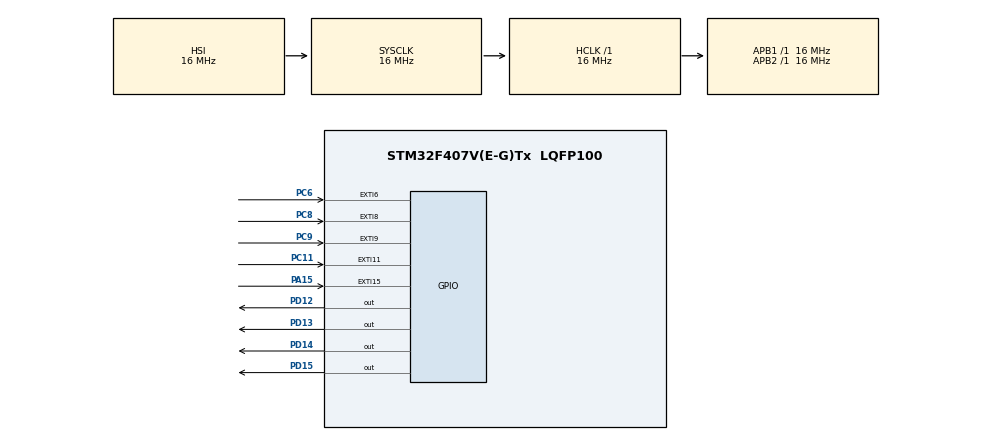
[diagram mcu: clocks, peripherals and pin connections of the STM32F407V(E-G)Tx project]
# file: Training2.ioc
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Mcu.Family=STM32F4
Mcu.Name=STM32F407V(E-G)Tx
Mcu.Package=LQFP100
NVIC.EXTI15_10_IRQn=true\:0\:0\:false\:false\:true\:true\:true\:true
NVIC.EXTI9_5_IRQn=true\:0\:0\:false\:false\:true\:true\:true\:true
NVIC.PriorityGroup=NVIC_PRIORITYGROUP_4
PA15.GPIO_ModeDefaultEXTI=GPIO_MODE_IT_RISING_FALLING
PA15.Signal=GPXTI15
PC11.GPIO_ModeDefaultEXTI=GPIO_MODE_IT_RISING_FALLING
PC11.Signal=GPXTI11
PC6.GPIO_ModeDefaultEXTI=GPIO_MODE_IT_RISING_FALLING
PC6.Signal=GPXTI6
PC8.GPIO_ModeDefaultEXTI=GPIO_MODE_IT_RISING_FALLING
PC8.Signal=GPXTI8
PC9.GPIO_ModeDefaultEXTI=GPIO_MODE_IT_RISING_FALLING
PC9.Signal=GPXTI9
PD12.Signal=GPIO_Output
PD13.Signal=GPIO_Output
PD14.Signal=GPIO_Output
PD15.Signal=GPIO_Output
ProjectManager.HeapSize=0x200
ProjectManager.StackSize=0x400
ProjectManager.TargetToolchain=STM32CubeIDE
RCC.AHBFreq_Value=16000000
RCC.APB1Freq_Value=16000000
RCC.APB2Freq_Value=16000000
RCC.CortexFreq_Value=16000000
RCC.HSE_VALUE=25000000
RCC.HSI_VALUE=16000000
RCC.LSE_VALUE=32768
RCC.SYSCLKFreq_VALUE=16000000
RCC.VCOOutputFreq_Value=192000000
board=custom

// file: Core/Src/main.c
/* USER CODE BEGIN Header */
/**
  ******************************************************************************
  * @file           : main.c
  * @brief          : Main program body
  ******************************************************************************
  * @attention
  *
  * Copyright (c) 2023 STMicroelectronics.
  * All rights reserved.
  *
  * This software is licensed under terms that can be found in the LICENSE file
  * in the root directory of this software component.
  * If no LICENSE file comes with this software, it is provided AS-IS.
  *
  ******************************************************************************
  */
/* USER CODE END Header */
#include "main.h"

/* USER CODE BEGIN PD */
#define NUM_OF_LEDS 4
#define NUM_OF_MODES 3
#define BLINK_DELAY_STEP 50
#define MAX_DELAY 2000
/* USER CODE END PD */

/* USER CODE BEGIN PV */
uint8_t isBlinking = 1;
uint8_t blinkMode = 0;
uint32_t delay = 250;
/* USER CODE END PV */

void SystemClock_Config(void);
static void MX_GPIO_Init(void);

int main(void)
{

  /* MCU Configuration--------------------------------------------------------*/

  /* Reset of all peripherals, Initializes the Flash interface and the Systick. */
  HAL_Init();

  /* Configure the system clock */
  SystemClock_Config();

  /* Initialize all configured peripherals */
  MX_GPIO_Init();
  /* USER CODE BEGIN 2 */
  uint16_t LEDs[] = {GPIO_PIN_12, GPIO_PIN_13, GPIO_PIN_14, GPIO_PIN_15};
  /* USER CODE END 2 */

  /* Infinite loop */
  /* USER CODE BEGIN WHILE */
  while (1)
  {
	  LEDsReset(LEDs);
	  if(isBlinking){
		  switch(blinkMode){
		  case 0:
			  BlinkingScheme1(LEDs, delay);
			  break;
		  case 1:
			  BlinkingScheme2(LEDs, delay);
			  break;
		  case 2:
			  BlinkingScheme3(LEDs, delay);
			  break;
		  default:
			  break;
		  }
	  }
	  else {
		  // HAL_GPIO_WritePin(GPIOD, GPIO_PIN_12|GPIO_PIN_13|GPIO_PIN_14|GPIO_PIN_15, GPIO_PIN_RESET);
	  }
    /* USER CODE END WHILE */

  }
}

void SystemClock_Config(void)
{
  RCC_OscInitTypeDef RCC_OscInitStruct = {0};
  RCC_ClkInitTypeDef RCC_ClkInitStruct = {0};

  /** Configure the main internal regulator output voltage
  */
  __HAL_RCC_PWR_CLK_ENABLE();
  __HAL_PWR_VOLTAGESCALING_CONFIG(PWR_REGULATOR_VOLTAGE_SCALE1);

  /** Initializes the RCC Oscillators according to the specified parameters
  * in the RCC_OscInitTypeDef structure.
  */
  RCC_OscInitStruct.OscillatorType = RCC_OSCILLATORTYPE_HSI;
  RCC_OscInitStruct.HSIState = RCC_HSI_ON;
  RCC_OscInitStruct.HSICalibrationValue = RCC_HSICALIBRATION_DEFAULT;
  RCC_OscInitStruct.PLL.PLLState = RCC_PLL_NONE;
  if (HAL_RCC_OscConfig(&RCC_OscInitStruct) != HAL_OK)
  {
    Error_Handler();
  }

  /** Initializes the CPU, AHB and APB buses clocks
  */
  RCC_ClkInitStruct.ClockType = RCC_CLOCKTYPE_HCLK|RCC_CLOCKTYPE_SYSCLK
                              |RCC_CLOCKTYPE_PCLK1|RCC_CLOCKTYPE_PCLK2;
  RCC_ClkInitStruct.SYSCLKSource = RCC_SYSCLKSOURCE_HSI;
  RCC_ClkInitStruct.AHBCLKDivider = RCC_SYSCLK_DIV1;
  RCC_ClkInitStruct.APB1CLKDivider = RCC_HCLK_DIV1;
  RCC_ClkInitStruct.APB2CLKDivider = RCC_HCLK_DIV1;

  if (HAL_RCC_ClockConfig(&RCC_ClkInitStruct, FLASH_LATENCY_0) != HAL_OK)
  {
    Error_Handler();
  }
}

static void MX_GPIO_Init(void)
{
  GPIO_InitTypeDef GPIO_InitStruct = {0};

  /* GPIO Ports Clock Enable */
  __HAL_RCC_GPIOD_CLK_ENABLE();
  __HAL_RCC_GPIOC_CLK_ENABLE();
  __HAL_RCC_GPIOA_CLK_ENABLE();

  /*Configure GPIO pin Output Level */
  HAL_GPIO_WritePin(GPIOD, GPIO_PIN_12|GPIO_PIN_13|GPIO_PIN_14|GPIO_PIN_15, GPIO_PIN_RESET);

  /*Configure GPIO pins : PD12 PD13 PD14 PD15 */
  GPIO_InitStruct.Pin = GPIO_PIN_12|GPIO_PIN_13|GPIO_PIN_14|GPIO_PIN_15;
  GPIO_InitStruct.Mode = GPIO_MODE_OUTPUT_PP;
  GPIO_InitStruct.Pull = GPIO_NOPULL;
  GPIO_InitStruct.Speed = GPIO_SPEED_FREQ_LOW;
  HAL_GPIO_Init(GPIOD, &GPIO_InitStruct);

  /*Configure GPIO pins : PC6 PC8 PC9 PC11 */
  GPIO_InitStruct.Pin = GPIO_PIN_6|GPIO_PIN_8|GPIO_PIN_9|GPIO_PIN_11;
  GPIO_InitStruct.Mode = GPIO_MODE_IT_RISING_FALLING;
  GPIO_InitStruct.Pull = GPIO_NOPULL;
  HAL_GPIO_Init(GPIOC, &GPIO_InitStruct);

  /*Configure GPIO pin : PA15 */
  GPIO_InitStruct.Pin = GPIO_PIN_15;
  GPIO_InitStruct.Mode = GPIO_MODE_IT_RISING_FALLING;
  GPIO_InitStruct.Pull = GPIO_NOPULL;
  HAL_GPIO_Init(GPIOA, &GPIO_InitStruct);

  /* EXTI interrupt init*/
  HAL_NVIC_SetPriority(EXTI9_5_IRQn, 0, 0);
  HAL_NVIC_EnableIRQ(EXTI9_5_IRQn);

  HAL_NVIC_SetPriority(EXTI15_10_IRQn, 0, 0);
  HAL_NVIC_EnableIRQ(EXTI15_10_IRQn);

}

/* USER CODE BEGIN 4 */
void BlinkingScheme1(uint16_t* LEDs, uint32_t delay){
	//HAL_GPIO_WritePin(GPIOD, GPIO_PIN_12|GPIO_PIN_13|GPIO_PIN_14|GPIO_PIN_15, GPIO_PIN_RESET);

	for (uint8_t i = 0; i < NUM_OF_LEDS; i++){
		HAL_GPIO_TogglePin(GPIOD, LEDs[i]);
		HAL_Delay(delay);
		HAL_GPIO_TogglePin(GPIOD, LEDs[i]);
	}
}

void BlinkingScheme2(uint16_t* LEDs, uint32_t delay){
	//HAL_GPIO_WritePin(GPIOD, GPIO_PIN_12|GPIO_PIN_13|GPIO_PIN_14|GPIO_PIN_15, GPIO_PIN_RESET);

	for (uint8_t i = 0; i < NUM_OF_LEDS/2; i++){
		HAL_GPIO_TogglePin(GPIOD, LEDs[i]);
		HAL_GPIO_TogglePin(GPIOD, LEDs[i + 2]);
		HAL_Delay(delay);
		HAL_GPIO_TogglePin(GPIOD, LEDs[i]);
		HAL_GPIO_TogglePin(GPIOD, LEDs[i + 2]);
	}
}

void BlinkingScheme3(uint16_t* LEDs, uint32_t delay){
	//HAL_GPIO_WritePin(GPIOD, GPIO_PIN_12|GPIO_PIN_13|GPIO_PIN_14|GPIO_PIN_15, GPIO_PIN_RESET);

	for (uint8_t i = 0; i < NUM_OF_LEDS; i++){
		HAL_GPIO_WritePin(GPIOD, LEDs[i], GPIO_PIN_SET);
		HAL_Delay(delay);
	}
}

void ChangeModeNext(void){
	++blinkMode;
	blinkMode  %= NUM_OF_MODES;
}

void ChangeModePrev(void){
	if(blinkMode <= 0){
		blinkMode = NUM_OF_MODES - 1;
	} else{
		--blinkMode;
	}
}

void BlinkSpeedUp(void){
	if(delay <= 0){
		delay = 0;
	}else {
		delay -= BLINK_DELAY_STEP;
	}
}

void BlinkSpeedDown(void){
	delay += BLINK_DELAY_STEP;
	if(delay >= MAX_DELAY){
		delay = MAX_DELAY;
	}
}

void ToggleBlinking(void){
	isBlinking = !(isBlinking);
}

void LEDsReset(uint16_t* LEDs){
	for (uint8_t i=0; i < NUM_OF_LEDS; i++){
		HAL_GPIO_WritePin(GPIOD, LEDs[i], GPIO_PIN_RESET);
	}
}
/* USER CODE END 4 */

void Error_Handler(void)
{
  __disable_irq();
  while (1)
  {
  }
}
